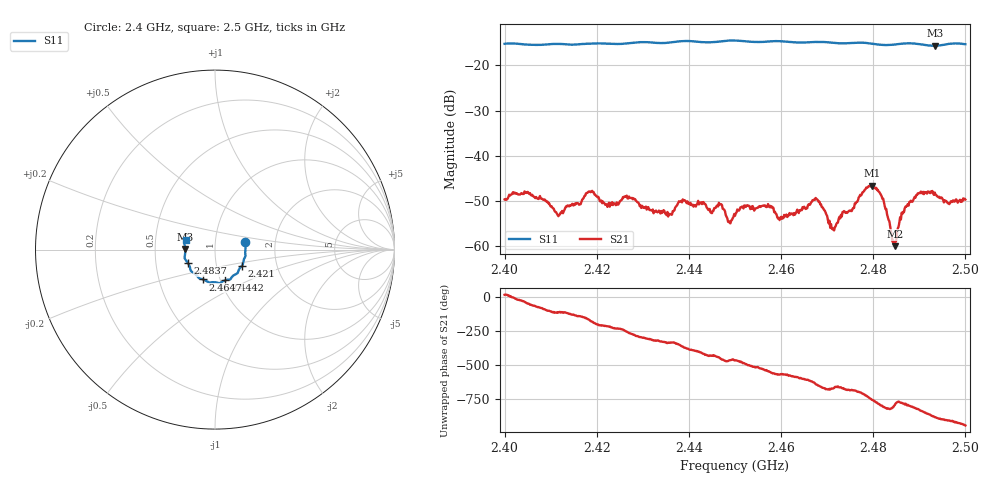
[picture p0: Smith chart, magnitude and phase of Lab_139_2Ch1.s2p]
# Hz S RI R 50
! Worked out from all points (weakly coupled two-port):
!   601 points, 2.4 GHz to 2.5 GHz, reference 50 ohm
!   highest |S21| = -46.63 dB at 2.4797 GHz (marker M1); lowest = -60.0 dB at 2.4847 GHz (marker M2)
!   lowest |S11| = -15.6 dB at 2.4935 GHz (marker M3), VSWR 1.40, Z = 35.8 + j0.192 ohm
!   |S11| at or under -10 dB: start of sweep to end of sweep
!   S12 and S22 are empty: the file has one direction only
!   S11 on the Smith chart (normalised r, x): 2.4 GHz: 1.40, +0.12; 2.421 GHz: 1.33, -0.24; 2.4442 GHz: 1.05, -0.37; 2.4647 GHz: 0.83, -0.28; 2.4837 GHz: 0.73, -0.11; 2.5 GHz: 0.72, +0.08
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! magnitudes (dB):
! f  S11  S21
! 2.4 GHz  -15.2  -49.7
! 2.4048 GHz  -15.4  -48.3
! 2.4118 GHz  -15.2  -53.1
! 2.4167 GHz  -15.3  -50.3
! 2.4187 GHz  -15.1  -48.1
! 2.421 GHz  -15.1  -49.9
! 2.4265 GHz  -15.1  -48.8
! 2.4333 GHz  -15.0  -52.4
! 2.4387 GHz  -14.6  -49.7
! 2.4442 GHz  -14.9  -52.0
! 2.45 GHz  -14.5  -53.3
! 2.4647 GHz  -14.9  -51.4
! 2.4667 GHz  -14.8  -50.2
! 2.4715 GHz  -15.0  -56.6
! 2.4797 GHz  -15.2  -46.6
! 2.4817 GHz  -15.4  -48.7
! 2.4833 GHz  -15.5  -54.2
! 2.4837 GHz  -15.5  -55.6
! 2.4847 GHz  -15.4  -60.0
! 2.4875 GHz  -15.1  -50.7
! 2.4935 GHz  -15.6  -48.6
! 2.5 GHz  -15.3  -49.7
